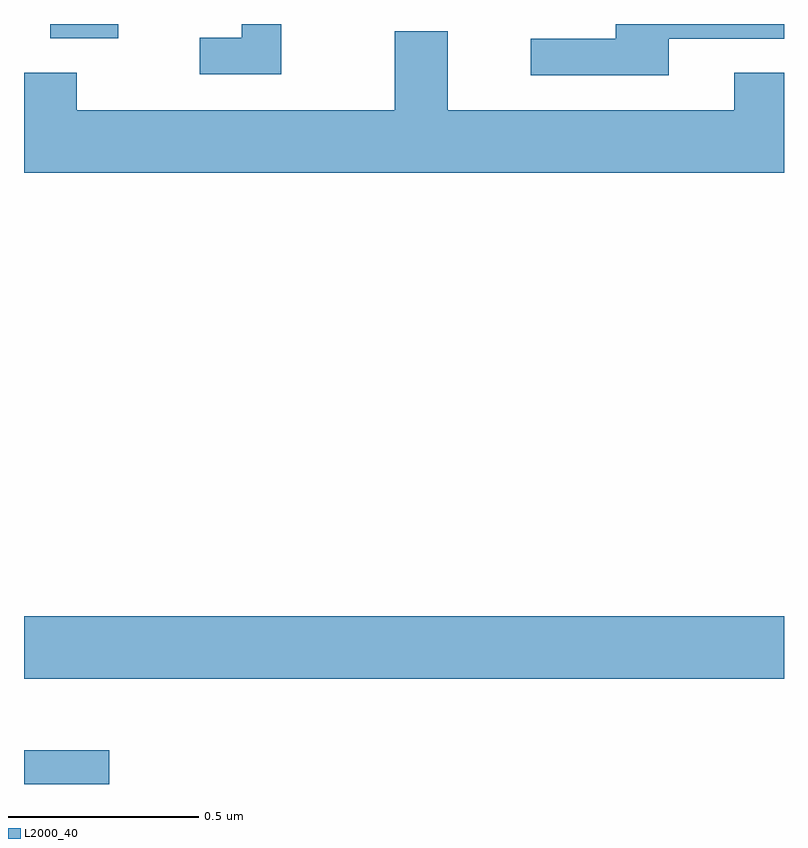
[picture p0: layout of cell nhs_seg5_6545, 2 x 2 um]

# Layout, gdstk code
import gdstk
lib = gdstk.Library(unit=1e-6, precision=1e-09)
def R(c, l, rs):  # rectangles x0, y0, x1, y1
    for r in rs: c.add(gdstk.rectangle(r[:2], r[2:], *l))
def P(c, l, *ps):  # polygons
    for p in ps: c.add(gdstk.Polygon(p, *l))
L2000_40 = (2000, 40)

nhs_seg5_6545 = lib.new_cell('nhs_seg5_6545')
R(nhs_seg5_6545, L2000_40, [(197,873.799,197.224,873.888), (197,874.076,199,874.24), (197.069,875.762,197.248,875.799)])
P(nhs_seg5_6545, L2000_40, [(197.677,875.799),(197.573,875.799),(197.573,875.763),(197.463,875.763),(197.463,875.667),(197.677,875.667)],
  [(198.697,875.76),(199,875.76),(199,875.799),(198.557,875.799),(198.557,875.76),(198.333,875.76),(198.333,875.664),(198.697,875.664)],
  [(199,875.671),(198.869,875.671),(198.869,875.572),(198.115,875.572),(198.115,875.78),(197.975,875.78),(197.975,875.572),(197.139,875.572),(197.139,875.671),(197,875.671),(197,875.408),(199,875.408)])

lib.write_gds('nhs_seg5_6545.gds')
